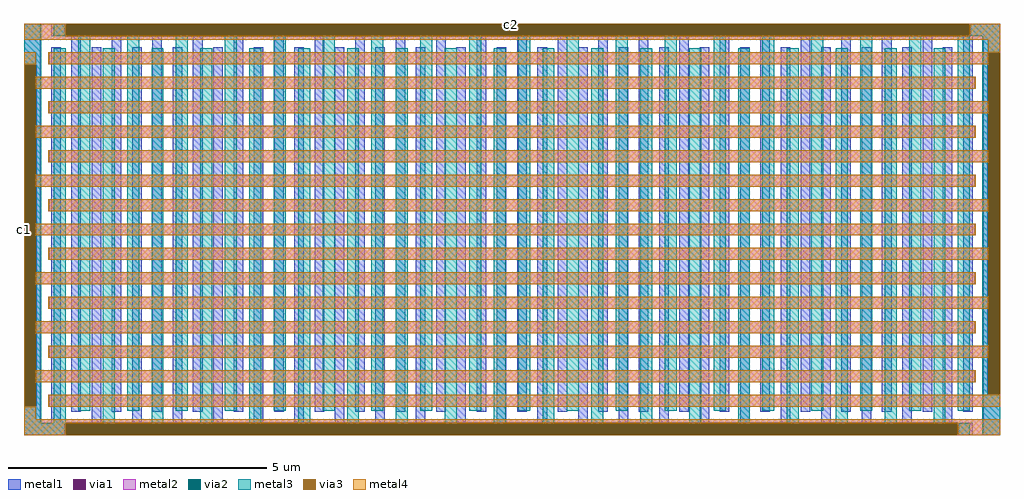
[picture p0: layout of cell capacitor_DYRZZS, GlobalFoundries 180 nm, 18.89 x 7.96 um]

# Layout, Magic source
magic
tech gf180mcuD
magscale 3 26
<< metal1 >>
rect 0 1244 55 1380
rect 91 1379 3275 1380
rect 91 1339 137 1379
rect 3177 1339 3275 1379
rect 91 1338 3275 1339
rect 0 96 1 1244
rect 41 96 55 1244
rect 0 42 55 96
rect 91 42 123 1302
rect 159 78 191 1338
rect 227 42 259 1302
rect 295 78 327 1338
rect 363 42 395 1302
rect 431 78 463 1338
rect 499 42 531 1302
rect 567 78 599 1338
rect 635 42 667 1302
rect 703 78 735 1338
rect 771 42 803 1302
rect 839 78 871 1338
rect 907 42 939 1302
rect 975 78 1007 1338
rect 1043 42 1075 1302
rect 1111 78 1143 1338
rect 1179 42 1211 1302
rect 1247 78 1279 1338
rect 1315 42 1347 1302
rect 1383 78 1415 1338
rect 1451 42 1483 1302
rect 1519 78 1551 1338
rect 1587 42 1619 1302
rect 1655 78 1687 1338
rect 1723 42 1755 1302
rect 1791 78 1823 1338
rect 1859 42 1891 1302
rect 1927 78 1959 1338
rect 1995 42 2027 1302
rect 2063 78 2095 1338
rect 2131 42 2163 1302
rect 2199 78 2231 1338
rect 2267 42 2299 1302
rect 2335 78 2367 1338
rect 2403 42 2435 1302
rect 2471 78 2503 1338
rect 2539 42 2571 1302
rect 2607 78 2639 1338
rect 2675 42 2707 1302
rect 2743 78 2775 1338
rect 2811 42 2843 1302
rect 2879 78 2911 1338
rect 2947 42 2979 1302
rect 3015 78 3047 1338
rect 3083 42 3115 1302
rect 3151 78 3183 1338
rect 3219 1284 3275 1338
rect 3219 136 3234 1284
rect 3274 136 3275 1284
rect 0 41 3183 42
rect 0 1 137 41
rect 3137 1 3183 41
rect 0 0 3183 1
rect 3219 0 3275 136
<< via1 >>
rect 137 1339 3177 1379
rect 1 96 41 1244
rect 3234 136 3274 1284
rect 137 1 3137 41
<< metal2 >>
rect 0 1379 140 1380
rect 3174 1379 3275 1380
rect 0 1339 137 1379
rect 3177 1339 3275 1379
rect 0 1326 3275 1339
rect 3234 1284 3275 1326
rect 0 1244 41 1284
rect 84 1244 3234 1284
rect 41 1162 3191 1202
rect 84 1080 3234 1120
rect 41 998 3191 1038
rect 84 916 3234 956
rect 41 834 3191 874
rect 84 752 3234 792
rect 41 670 3191 710
rect 84 588 3234 628
rect 41 506 3191 546
rect 84 424 3234 464
rect 41 342 3191 382
rect 84 260 3234 300
rect 41 178 3191 218
rect 84 96 3275 136
rect 0 54 41 96
rect 0 41 3275 54
rect 0 1 137 41
rect 3137 1 3275 41
rect 0 0 140 1
rect 3134 0 3275 1
<< via2 >>
rect 140 1379 3174 1380
rect 140 1340 3174 1379
rect 0 96 1 1244
rect 1 96 40 1244
rect 3235 136 3274 1284
rect 3274 136 3275 1284
rect 140 1 3134 40
rect 140 0 3134 1
<< metal3 >>
rect 0 1244 58 1380
rect 100 1340 140 1380
rect 3174 1340 3275 1380
rect 40 96 58 1244
rect 0 40 58 96
rect 100 40 140 1298
rect 182 82 222 1340
rect 264 40 304 1298
rect 346 82 386 1340
rect 428 40 468 1298
rect 510 82 550 1340
rect 592 40 632 1298
rect 674 82 714 1340
rect 756 40 796 1298
rect 838 82 878 1340
rect 920 40 960 1298
rect 1002 82 1042 1340
rect 1084 40 1124 1298
rect 1166 82 1206 1340
rect 1248 40 1288 1298
rect 1330 82 1370 1340
rect 1412 40 1452 1298
rect 1494 82 1534 1340
rect 1576 40 1616 1298
rect 1658 82 1698 1340
rect 1740 40 1780 1298
rect 1822 82 1862 1340
rect 1904 40 1944 1298
rect 1986 82 2026 1340
rect 2068 40 2108 1298
rect 2150 82 2190 1340
rect 2232 40 2272 1298
rect 2314 82 2354 1340
rect 2396 40 2436 1298
rect 2478 82 2518 1340
rect 2560 40 2600 1298
rect 2642 82 2682 1340
rect 2724 40 2764 1298
rect 2806 82 2846 1340
rect 2888 40 2928 1298
rect 2970 82 3010 1340
rect 3052 40 3092 1298
rect 3134 82 3174 1340
rect 3216 1284 3275 1340
rect 3216 136 3235 1284
rect 0 0 140 40
rect 3134 0 3174 40
rect 3216 0 3275 136
<< via3 >>
rect 140 1340 3174 1380
rect 0 96 40 1244
rect 3235 136 3275 1284
rect 140 0 3134 40
<< metal4 >>
rect 0 1340 140 1380
rect 3174 1340 3275 1380
rect 0 1326 3275 1340
rect 3235 1284 3275 1326
rect 0 1244 40 1284
rect 82 1244 3235 1284
rect 40 1162 3193 1202
rect 82 1080 3235 1120
rect 40 998 3193 1038
rect 82 916 3235 956
rect 40 834 3193 874
rect 82 752 3235 792
rect 40 670 3193 710
rect 82 588 3235 628
rect 40 506 3193 546
rect 82 424 3235 464
rect 40 342 3193 382
rect 82 260 3235 300
rect 40 178 3193 218
rect 82 96 3275 136
rect 0 54 40 96
rect 0 40 3275 54
rect 0 0 140 40
rect 3134 0 3275 40
<< labels >>
rlabel via3 2 690 2 690 0 c1
port 1 nsew
rlabel via3 1637 1378 1637 1378 0 c2
port 2 nsew
<< properties >>
string device csubckt cap_cmomf 0 0 1 1 w=16.374u l=6.9u mmin=1 mmax=4 subblock=0 mm_ok=1 c1 0 0 c2 0 0
string FIXED_BBOX 0 0 3275 1380
string gencell cap_cmomf
string library gf180mcu
string parameters w 16.374 l 6.9 value 9.28 class capacitor mmin 1 mmax 4 square 1 subblock 0 lmin 2.00 wmin 2.00 lmax 100.0 wmax 100.0 val {}
<< end >>
